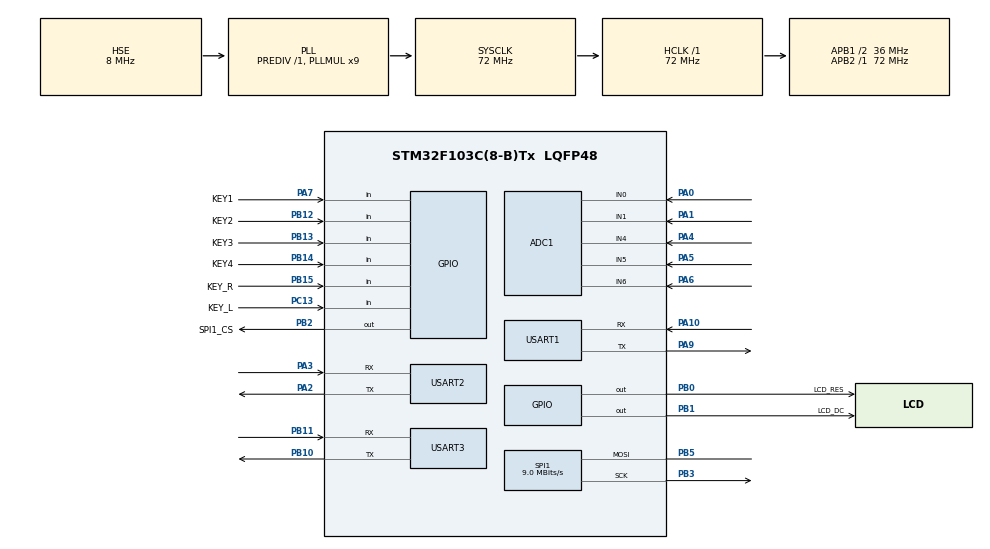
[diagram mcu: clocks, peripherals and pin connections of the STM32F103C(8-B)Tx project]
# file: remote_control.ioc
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ADC1.Channel-5\#ChannelRegularConversion=ADC_CHANNEL_0
ADC1.Channel-6\#ChannelRegularConversion=ADC_CHANNEL_1
ADC1.Channel-7\#ChannelRegularConversion=ADC_CHANNEL_6
ADC1.Channel-8\#ChannelRegularConversion=ADC_CHANNEL_5
ADC1.Channel-9\#ChannelRegularConversion=ADC_CHANNEL_4
ADC1.ContinuousConvMode=DISABLE
ADC1.DiscontinuousConvMode=ENABLE
ADC1.EnableRegularConversion=ENABLE
ADC1.NbrOfConversion=5
ADC1.NbrOfConversionFlag=1
ADC1.Rank-5\#ChannelRegularConversion=1
ADC1.Rank-6\#ChannelRegularConversion=2
ADC1.Rank-7\#ChannelRegularConversion=3
ADC1.Rank-8\#ChannelRegularConversion=4
ADC1.Rank-9\#ChannelRegularConversion=5
ADC1.SamplingTime-5\#ChannelRegularConversion=ADC_SAMPLETIME_71CYCLES_5
ADC1.SamplingTime-6\#ChannelRegularConversion=ADC_SAMPLETIME_71CYCLES_5
ADC1.SamplingTime-7\#ChannelRegularConversion=ADC_SAMPLETIME_71CYCLES_5
ADC1.SamplingTime-8\#ChannelRegularConversion=ADC_SAMPLETIME_71CYCLES_5
ADC1.SamplingTime-9\#ChannelRegularConversion=ADC_SAMPLETIME_71CYCLES_5
ADC1.master=1
Mcu.Family=STM32F1
Mcu.Name=STM32F103C(8-B)Tx
Mcu.Package=LQFP48
NVIC.PriorityGroup=NVIC_PRIORITYGROUP_4
NVIC.TIM1_BRK_IRQn=true\:0\:0\:false\:false\:true\:true\:true\:true
NVIC.TIM1_UP_IRQn=true\:0\:0\:false\:false\:true\:true\:true\:true
NVIC.USART1_IRQn=true\:0\:0\:false\:false\:true\:true\:true\:true
PA0-WKUP.Signal=ADCx_IN0
PA1.Signal=ADCx_IN1
PA10.Mode=Asynchronous
PA10.Signal=USART1_RX
PA11.Signal=USB_DM
PA13.Mode=Serial_Wire
PA13.Signal=SYS_JTMS-SWDIO
PA14.Mode=Serial_Wire
PA14.Signal=SYS_JTCK-SWCLK
PA2.Mode=Asynchronous
PA2.Signal=USART2_TX
PA3.Mode=Asynchronous
PA3.Signal=USART2_RX
PA4.Signal=ADCx_IN4
PA5.Signal=ADCx_IN5
PA6.Signal=ADCx_IN6
PA7.GPIO_Label=KEY1
PA7.GPIO_PuPd=GPIO_PULLUP
PA7.Signal=GPIO_Input
PA9.Mode=Asynchronous
PA9.Signal=USART1_TX
PB0.GPIO_Label=LCD_RES
PB0.Signal=GPIO_Output
PB1.GPIO_Label=LCD_DC
PB1.Signal=GPIO_Output
PB10.Mode=Asynchronous
PB10.Signal=USART3_TX
PB11.Mode=Asynchronous
PB11.Signal=USART3_RX
PB12.GPIO_Label=KEY2
PB12.GPIO_PuPd=GPIO_PULLUP
PB12.Signal=GPIO_Input
PB13.GPIO_Label=KEY3
PB13.GPIO_PuPd=GPIO_PULLUP
PB13.Signal=GPIO_Input
PB14.GPIO_Label=KEY4
PB14.GPIO_PuPd=GPIO_PULLUP
PB14.Signal=GPIO_Input
PB15.GPIO_Label=KEY_R
PB15.GPIO_PuPd=GPIO_PULLUP
PB15.Signal=GPIO_Input
PB2.GPIO_Label=SPI1_CS
PB2.GPIO_Speed=GPIO_SPEED_FREQ_HIGH
PB2.PinState=GPIO_PIN_SET
PB2.Signal=GPIO_Output
PB3.Mode=Simplex_Bidirectional_Master
PB3.Signal=SPI1_SCK
PB5.Mode=Simplex_Bidirectional_Master
PB5.Signal=SPI1_MOSI
PC13-TAMPER-RTC.GPIO_Label=KEY_L
PC13-TAMPER-RTC.GPIO_PuPd=GPIO_PULLUP
PC13-TAMPER-RTC.Signal=GPIO_Input
PD0-OSC_IN.Mode=HSE-External-Oscillator
PD0-OSC_IN.Signal=RCC_OSC_IN
PD1-OSC_OUT.Mode=HSE-External-Oscillator
PD1-OSC_OUT.Signal=RCC_OSC_OUT
ProjectManager.HeapSize=0x200
ProjectManager.StackSize=0x400
ProjectManager.TargetToolchain=MDK-ARM V5.32
RCC.ADCPresc=RCC_ADCPCLK2_DIV6
RCC.AHBFreq_Value=72000000
RCC.APB1CLKDivider=RCC_HCLK_DIV2
RCC.APB1Freq_Value=36000000
RCC.APB1TimFreq_Value=72000000
RCC.APB2Freq_Value=72000000
RCC.APB2TimFreq_Value=72000000
RCC.HCLKFreq_Value=72000000
RCC.PLLMUL=RCC_PLL_MUL9
RCC.PLLSourceVirtual=RCC_PLLSOURCE_HSE
RCC.SYSCLKFreq_VALUE=72000000
RCC.SYSCLKSource=RCC_SYSCLKSOURCE_PLLCLK
RCC.USBFreq_Value=48000000
RCC.USBPrescaler=RCC_USBCLKSOURCE_PLL_DIV1_5
SH.ADCx_IN0.0=ADC1_IN0,IN0
SH.ADCx_IN1.0=ADC1_IN1,IN1
SH.ADCx_IN4.0=ADC1_IN4,IN4
SH.ADCx_IN5.0=ADC1_IN5,IN5
SH.ADCx_IN6.0=ADC1_IN6,IN6
SPI1.BaudRatePrescaler=SPI_BAUDRATEPRESCALER_8
SPI1.CLKPolarity=SPI_POLARITY_HIGH
SPI1.CalculateBaudRate=9.0 MBits/s
SPI1.Direction=SPI_DIRECTION_1LINE
SPI1.Mode=SPI_MODE_MASTER
SPI1.VirtualType=VM_MASTER
TIM1.AutoReloadPreload=TIM_AUTORELOAD_PRELOAD_ENABLE
TIM1.Period=100
TIM1.Prescaler=7199
USART1.VirtualMode=VM_ASYNC
USART2.VirtualMode=VM_ASYNC
USART3.VirtualMode=VM_ASYNC
VP_TIM1_VS_ClockSourceINT.Mode=Internal
board=custom

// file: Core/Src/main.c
/* USER CODE BEGIN Header */
/**
  ******************************************************************************
  * @file           : main.c
  * @brief          : Main program body
  ******************************************************************************
  * @attention
  *
  * Copyright (c) 2024 STMicroelectronics.
  * All rights reserved.
  *
  * This software is licensed under terms that can be found in the LICENSE file
  * in the root directory of this software component.
  * If no LICENSE file comes with this software, it is provided AS-IS.
  *
  ******************************************************************************
  */
/* USER CODE END Header */
#include "main.h"
#include "adc.h"
#include "spi.h"
#include "tim.h"
#include "usart.h"
#include "gpio.h"

/* USER CODE BEGIN Includes */
#include <stdio.h>
#include <string.h>
#include "key.h"
#include "oled.h"
#include "u8g2_init.h"
#include "at_cmd.h"
#include "gui.h"
#include "communication.h"
#include "RingBuffer.h"
/* USER CODE END Includes */

/* USER CODE BEGIN PTD */
extern RING_BUFFER_T  ringbuffer;
/* USER CODE END PTD */

void SystemClock_Config(void);

int main(void)
{

  /* MCU Configuration--------------------------------------------------------*/

  /* Reset of all peripherals, Initializes the Flash interface and the Systick. */
  HAL_Init();

  /* Configure the system clock */
  SystemClock_Config();

  /* USER CODE BEGIN SysInit */
//  __enable_irq();
  /* USER CODE END SysInit */

  /* Initialize all configured peripherals */
  MX_GPIO_Init();
  MX_ADC1_Init();
  MX_SPI1_Init();
  MX_USART1_UART_Init();
  MX_USART2_UART_Init();
  MX_TIM1_Init();
  MX_USART3_UART_Init();
  /* USER CODE BEGIN 2 */
  uint8_t  key_value[6];
  uint32_t ad_value[5];
  float rc_value[8];
  float tmp_rc_value[8];

	OLED_Init();				// 初始化OLED
	OLED_Clear(); 				// 清屏

  //初始化按键环形队列
  key_init();

  //初始化串口接收中断
  KT6368A_Init();
  tmp_rc_value[4] = 100;

  //初始化u8g2库，以及部分暂时未开发的多级菜单
  Menu_Init();

  HAL_ADCEx_Calibration_Start(&hadc1);

  //启动定时器1中断扫描按键
  HAL_TIM_Base_Start_IT(&htim1);
  /* USER CODE END 2 */

  /* Infinite loop */
  /* USER CODE BEGIN WHILE */

  //配置蓝牙名称
  atprintf("AT+BMACFLY_EDU_V2\r\n");
  //配置蓝牙LED连接时状态，未连接为闪烁，连接为常亮
  atprintf("AT+CF01\r\n");

  while (1)
  {
    //接收按键缓冲区键值
    ringBuffer_pop_data(&ringbuffer, key_value, 6);

    //采集两个摇杆，电池电压，其中rc_value[4]为电池电压
    for(int i=0; i<5; i++)
    {
      HAL_ADC_Start(&hadc1);
      HAL_ADC_PollForConversion(&hadc1, 50);
      ad_value[i] = HAL_ADC_GetValue(&hadc1);
      if(i<4)
        rc_value[i] = ad_value[i]*1.0*100/4096;
    }
    HAL_ADC_Stop(&hadc1);

    //通道映射
    tmp_rc_value[0] = rc_value[2];
    tmp_rc_value[1] = rc_value[3];
    tmp_rc_value[2] = rc_value[0];
    tmp_rc_value[3] = 100-rc_value[1];

    //按键KEY_2负责切换飞行模式，单击和双击各自对应一种模式，需要地面站看具体是哪种

    if(key_value[1] == short_flag)
    {
        tmp_rc_value[4] = 100;
    }
    else if(key_value[1] == double_flag)
    {
        tmp_rc_value[4] = 0;
    }

    //其余按键暂时未开发
    tmp_rc_value[5] = 0;
    tmp_rc_value[6] = 0;
    tmp_rc_value[7] = 0;

    //用rc_value[4]暂存遥控器电池电压ADC
    rc_value[4] = ad_value[4]*6.69/4096;
    //OLED显示
    dispaly(rc_value);
//    Choose_Menu(key_value);

    //发送数据
    SendFloatMsg(0x01, tmp_rc_value);

    HAL_Delay(20);
    /* USER CODE END WHILE */

  }
}

void SystemClock_Config(void)
{
  RCC_OscInitTypeDef RCC_OscInitStruct = {0};
  RCC_ClkInitTypeDef RCC_ClkInitStruct = {0};
  RCC_PeriphCLKInitTypeDef PeriphClkInit = {0};

  /** Initializes the RCC Oscillators according to the specified parameters
  * in the RCC_OscInitTypeDef structure.
  */
  RCC_OscInitStruct.OscillatorType = RCC_OSCILLATORTYPE_HSE;
  RCC_OscInitStruct.HSEState = RCC_HSE_ON;
  RCC_OscInitStruct.HSEPredivValue = RCC_HSE_PREDIV_DIV1;
  RCC_OscInitStruct.HSIState = RCC_HSI_ON;
  RCC_OscInitStruct.PLL.PLLState = RCC_PLL_ON;
  RCC_OscInitStruct.PLL.PLLSource = RCC_PLLSOURCE_HSE;
  RCC_OscInitStruct.PLL.PLLMUL = RCC_PLL_MUL9;
  if (HAL_RCC_OscConfig(&RCC_OscInitStruct) != HAL_OK)
  {
    Error_Handler();
  }

  /** Initializes the CPU, AHB and APB buses clocks
  */
  RCC_ClkInitStruct.ClockType = RCC_CLOCKTYPE_HCLK|RCC_CLOCKTYPE_SYSCLK
                              |RCC_CLOCKTYPE_PCLK1|RCC_CLOCKTYPE_PCLK2;
  RCC_ClkInitStruct.SYSCLKSource = RCC_SYSCLKSOURCE_PLLCLK;
  RCC_ClkInitStruct.AHBCLKDivider = RCC_SYSCLK_DIV1;
  RCC_ClkInitStruct.APB1CLKDivider = RCC_HCLK_DIV2;
  RCC_ClkInitStruct.APB2CLKDivider = RCC_HCLK_DIV1;

  if (HAL_RCC_ClockConfig(&RCC_ClkInitStruct, FLASH_LATENCY_2) != HAL_OK)
  {
    Error_Handler();
  }
  PeriphClkInit.PeriphClockSelection = RCC_PERIPHCLK_ADC;
  PeriphClkInit.AdcClockSelection = RCC_ADCPCLK2_DIV6;
  if (HAL_RCCEx_PeriphCLKConfig(&PeriphClkInit) != HAL_OK)
  {
    Error_Handler();
  }
}

void Error_Handler(void)
{
  __disable_irq();
  while (1)
  {
  }
}
